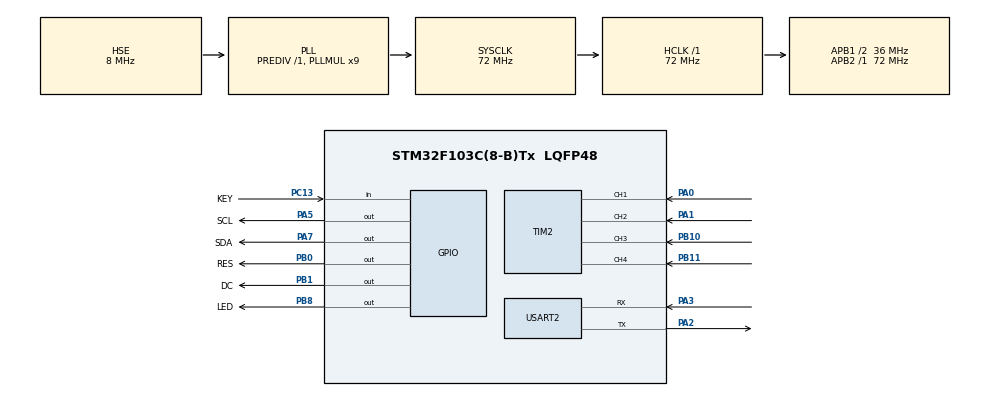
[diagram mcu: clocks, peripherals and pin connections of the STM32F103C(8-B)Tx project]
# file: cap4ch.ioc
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Mcu.Family=STM32F1
Mcu.Name=STM32F103C(8-B)Tx
Mcu.Package=LQFP48
NVIC.PriorityGroup=NVIC_PRIORITYGROUP_4
NVIC.TIM2_IRQn=true\:0\:0\:false\:false\:true
PA0-WKUP.GPIO_PuPd=GPIO_PULLUP
PA0-WKUP.Signal=S_TIM2_CH1_ETR
PA1.GPIO_PuPd=GPIO_PULLUP
PA1.Signal=S_TIM2_CH2
PA13.Mode=JTAG_5_pins
PA13.Signal=SYS_JTMS-SWDIO
PA14.Mode=JTAG_5_pins
PA14.Signal=SYS_JTCK-SWCLK
PA15.Mode=JTAG_5_pins
PA15.Signal=SYS_JTDI
PA2.Mode=Asynchronous
PA2.Signal=USART2_TX
PA3.Mode=Asynchronous
PA3.Signal=USART2_RX
PA5.GPIO_Label=SCL
PA5.GPIO_ModeDefaultOutputPP=GPIO_MODE_OUTPUT_OD
PA5.GPIO_Speed=GPIO_SPEED_FREQ_HIGH
PA5.Signal=GPIO_Output
PA7.GPIO_Label=SDA
PA7.GPIO_ModeDefaultOutputPP=GPIO_MODE_OUTPUT_OD
PA7.GPIO_Speed=GPIO_SPEED_FREQ_HIGH
PA7.Signal=GPIO_Output
PB0.GPIO_Label=RES
PB0.GPIO_ModeDefaultOutputPP=GPIO_MODE_OUTPUT_OD
PB0.GPIO_Speed=GPIO_SPEED_FREQ_HIGH
PB0.Signal=GPIO_Output
PB1.GPIO_Label=DC
PB1.GPIO_ModeDefaultOutputPP=GPIO_MODE_OUTPUT_OD
PB1.GPIO_Speed=GPIO_SPEED_FREQ_HIGH
PB1.Signal=GPIO_Output
PB10.GPIO_PuPd=GPIO_PULLUP
PB10.Signal=S_TIM2_CH3
PB11.GPIO_PuPd=GPIO_PULLUP
PB11.Signal=S_TIM2_CH4
PB3.Mode=JTAG_5_pins
PB3.Signal=SYS_JTDO-TRACESWO
PB4.Mode=JTAG_5_pins
PB4.Signal=SYS_NJTRST
PB8.GPIO_Label=LED
PB8.GPIO_ModeDefaultOutputPP=GPIO_MODE_OUTPUT_OD
PB8.GPIO_Speed=GPIO_SPEED_FREQ_HIGH
PB8.PinState=GPIO_PIN_RESET
PB8.Signal=GPIO_Output
PC13-TAMPER-RTC.GPIO_Label=KEY
PC13-TAMPER-RTC.GPIO_PuPd=GPIO_PULLUP
PC13-TAMPER-RTC.Signal=GPIO_Input
PC14-OSC32_IN.Mode=LSE-External-Oscillator
PC14-OSC32_IN.Signal=RCC_OSC32_IN
PC15-OSC32_OUT.Mode=LSE-External-Oscillator
PC15-OSC32_OUT.Signal=RCC_OSC32_OUT
PD0-OSC_IN.Mode=HSE-External-Oscillator
PD0-OSC_IN.Signal=RCC_OSC_IN
PD1-OSC_OUT.Mode=HSE-External-Oscillator
PD1-OSC_OUT.Signal=RCC_OSC_OUT
ProjectManager.HeapSize=0x200
ProjectManager.StackSize=0x800
ProjectManager.TargetToolchain=MDK-ARM V5
RCC.AHBFreq_Value=72000000
RCC.APB1CLKDivider=RCC_HCLK_DIV2
RCC.APB1Freq_Value=36000000
RCC.APB1TimFreq_Value=72000000
RCC.APB2Freq_Value=72000000
RCC.APB2TimFreq_Value=72000000
RCC.HCLKFreq_Value=72000000
RCC.HSIState=RCC_HSI_ON
RCC.PLLMUL=RCC_PLL_MUL9
RCC.PLLSourceVirtual=RCC_PLLSOURCE_HSE
RCC.SYSCLKFreq_VALUE=72000000
RCC.SYSCLKSource=RCC_SYSCLKSOURCE_PLLCLK
RCC.USBFreq_Value=72000000
SH.S_TIM2_CH1_ETR.0=TIM2_CH1,Input_Capture1_from_TI1
SH.S_TIM2_CH2.0=TIM2_CH2,Input_Capture2_from_TI2
SH.S_TIM2_CH3.0=TIM2_CH3,Input_Capture3_from_TI3
SH.S_TIM2_CH4.0=TIM2_CH4,Input_Capture4_from_TI4
TIM2.Channel-Input_Capture2_from_TI2=TIM_CHANNEL_2
TIM2.Channel-Input_Capture3_from_TI3=TIM_CHANNEL_3
TIM2.Channel-Input_Capture4_from_TI4=TIM_CHANNEL_4
TIM2.ICFilter_CH1=1
TIM2.ICFilter_CH2=3
TIM2.ICFilter_CH3=7
TIM2.ICFilter_CH4=15
TIM2.ICPolarity_CH1=TIM_INPUTCHANNELPOLARITY_FALLING
TIM2.ICPolarity_CH2=TIM_INPUTCHANNELPOLARITY_FALLING
TIM2.ICPolarity_CH3=TIM_INPUTCHANNELPOLARITY_FALLING
TIM2.ICPolarity_CH4=TIM_INPUTCHANNELPOLARITY_FALLING
VP_RTC_No_RTC_Output.Mode=RTC_OUT_NO
VP_TIM2_VS_ClockSourceINT.Mode=Internal
VP_TIM3_VS_ClockSourceINT.Mode=Internal
board=cap4ch

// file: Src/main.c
/**
  ******************************************************************************
  * File Name          : main.c
  * Description        : Main program body
  ******************************************************************************
  *
  * COPYRIGHT(c) 2016 STMicroelectronics
  *
  * Redistribution and use in source and binary forms, with or without modification,
  * are permitted provided that the following conditions are met:
  *   1. Redistributions of source code must retain the above copyright notice,
  *      this list of conditions and the following disclaimer.
  *   2. Redistributions in binary form must reproduce the above copyright notice,
  *      this list of conditions and the following disclaimer in the documentation
  *      and/or other materials provided with the distribution.
  *   3. Neither the name of STMicroelectronics nor the names of its contributors
  *      may be used to endorse or promote products derived from this software
  *      without specific prior written permission.
  *
  * THIS SOFTWARE IS PROVIDED BY THE COPYRIGHT HOLDERS AND CONTRIBUTORS "AS IS"
  * AND ANY EXPRESS OR IMPLIED WARRANTIES, INCLUDING, BUT NOT LIMITED TO, THE
  * IMPLIED WARRANTIES OF MERCHANTABILITY AND FITNESS FOR A PARTICULAR PURPOSE ARE
  * DISCLAIMED. IN NO EVENT SHALL THE COPYRIGHT HOLDER OR CONTRIBUTORS BE LIABLE
  * FOR ANY DIRECT, INDIRECT, INCIDENTAL, SPECIAL, EXEMPLARY, OR CONSEQUENTIAL
  * DAMAGES (INCLUDING, BUT NOT LIMITED TO, PROCUREMENT OF SUBSTITUTE GOODS OR
  * SERVICES; LOSS OF USE, DATA, OR PROFITS; OR BUSINESS INTERRUPTION) HOWEVER
  * CAUSED AND ON ANY THEORY OF LIABILITY, WHETHER IN CONTRACT, STRICT LIABILITY,
  * OR TORT (INCLUDING NEGLIGENCE OR OTHERWISE) ARISING IN ANY WAY OUT OF THE USE
  * OF THIS SOFTWARE, EVEN IF ADVISED OF THE POSSIBILITY OF SUCH DAMAGE.
  *
  ******************************************************************************
  */
#include "stm32f1xx_hal.h"

/* USER CODE BEGIN Includes */

#include <stdio.h>

/* USER CODE END Includes */

RTC_HandleTypeDef hrtc;

TIM_HandleTypeDef htim2;
TIM_HandleTypeDef htim3;

UART_HandleTypeDef huart2;

/* USER CODE BEGIN PV */
/* Private variables ---------------------------------------------------------*/
	short unsigned int cap[1024];
	unsigned int last = 0;
	int ch;

	volatile int irqcount;

/* USER CODE END PV */

void SystemClock_Config(void);
void Error_Handler(void);
static void MX_GPIO_Init(void);
static void MX_RTC_Init(void);
static void MX_TIM2_Init(void);
static void MX_TIM3_Init(void);
static void MX_USART2_UART_Init(void);

/* USER CODE BEGIN PFP */
/* Private function prototypes -----------------------------------------------*/

/* USER CODE END PFP */

/* USER CODE BEGIN 0 */

void HAL_TIM_IC_CaptureCallback(TIM_HandleTypeDef *htim)
{
	last %= 1024;
	irqcount++;
	cap[last] = htim->Instance->CCR1;
	last++;
}

/* USER CODE END 0 */

int main(void)
{

  /* USER CODE BEGIN 1 */
	unsigned int i;

  /* USER CODE END 1 */

  /* MCU Configuration----------------------------------------------------------*/

  /* Reset of all peripherals, Initializes the Flash interface and the Systick. */
  HAL_Init();

  /* Configure the system clock */
  SystemClock_Config();

  /* Initialize all configured peripherals */
  MX_GPIO_Init();
  MX_RTC_Init();
  MX_TIM2_Init();
  MX_TIM3_Init();
  MX_USART2_UART_Init();

  /* USER CODE BEGIN 2 */
	printf("The Open Bicycle Computer\n");
	printf("Hello World.\n");
	printf("Capture Test.\n");

	HAL_TIM_IC_Start_IT (&htim2,  TIM_CHANNEL_1);
	htim2.Instance->ARR = 0xFFFF;

  /* USER CODE END 2 */

  /* Infinite loop */
  /* USER CODE BEGIN WHILE */
	i = 0;
  while (1)
  {
  /* USER CODE END WHILE */

  /* USER CODE BEGIN 3 */
	  int irqcnt;

	  irqcnt = irqcount;
	  /* interrupt here? */
	  irqcount -= irqcnt;
  	while(irqcnt) {
		char buf[128];
		unsigned int tmp;

		i %= 1024;
		tmp = cap[i];

		sprintf(buf, "%3d(%3d):[%08x]\n", irqcnt, i, tmp);
		printf("%s", buf);

		i++;
		irqcnt--;

  	}
  }
  /* USER CODE END 3 */

}

/** System Clock Configuration
*/
void SystemClock_Config(void)
{

  RCC_OscInitTypeDef RCC_OscInitStruct;
  RCC_ClkInitTypeDef RCC_ClkInitStruct;
  RCC_PeriphCLKInitTypeDef PeriphClkInit;

  RCC_OscInitStruct.OscillatorType = RCC_OSCILLATORTYPE_LSI|RCC_OSCILLATORTYPE_HSE;
  RCC_OscInitStruct.HSEState = RCC_HSE_ON;
  RCC_OscInitStruct.HSEPredivValue = RCC_HSE_PREDIV_DIV1;
  RCC_OscInitStruct.LSIState = RCC_LSI_ON;
  RCC_OscInitStruct.PLL.PLLState = RCC_PLL_ON;
  RCC_OscInitStruct.PLL.PLLSource = RCC_PLLSOURCE_HSE;
  RCC_OscInitStruct.PLL.PLLMUL = RCC_PLL_MUL9;
  if (HAL_RCC_OscConfig(&RCC_OscInitStruct) != HAL_OK)
  {
    Error_Handler();
  }

  RCC_ClkInitStruct.ClockType = RCC_CLOCKTYPE_HCLK|RCC_CLOCKTYPE_SYSCLK
                              |RCC_CLOCKTYPE_PCLK1|RCC_CLOCKTYPE_PCLK2;
  RCC_ClkInitStruct.SYSCLKSource = RCC_SYSCLKSOURCE_PLLCLK;
  RCC_ClkInitStruct.AHBCLKDivider = RCC_SYSCLK_DIV1;
  RCC_ClkInitStruct.APB1CLKDivider = RCC_HCLK_DIV2;
  RCC_ClkInitStruct.APB2CLKDivider = RCC_HCLK_DIV1;
  if (HAL_RCC_ClockConfig(&RCC_ClkInitStruct, FLASH_LATENCY_2) != HAL_OK)
  {
    Error_Handler();
  }

  PeriphClkInit.PeriphClockSelection = RCC_PERIPHCLK_RTC;
  PeriphClkInit.RTCClockSelection = RCC_RTCCLKSOURCE_LSI;
  if (HAL_RCCEx_PeriphCLKConfig(&PeriphClkInit) != HAL_OK)
  {
    Error_Handler();
  }

  HAL_SYSTICK_Config(HAL_RCC_GetHCLKFreq()/1000);

  HAL_SYSTICK_CLKSourceConfig(SYSTICK_CLKSOURCE_HCLK);

  /* SysTick_IRQn interrupt configuration */
  HAL_NVIC_SetPriority(SysTick_IRQn, 0, 0);
}

/* RTC init function */
static void MX_RTC_Init(void)
{

  RTC_TimeTypeDef sTime;
  RTC_DateTypeDef DateToUpdate;

    /**Initialize RTC and set the Time and Date
    */
  hrtc.Instance = RTC;
  hrtc.Init.AsynchPrediv = RTC_AUTO_1_SECOND;
  hrtc.Init.OutPut = RTC_OUTPUTSOURCE_NONE;
  if (HAL_RTC_Init(&hrtc) != HAL_OK)
  {
    Error_Handler();
  }

  sTime.Hours = 0x1;
  sTime.Minutes = 0x0;
  sTime.Seconds = 0x0;

  if (HAL_RTC_SetTime(&hrtc, &sTime, RTC_FORMAT_BCD) != HAL_OK)
  {
    Error_Handler();
  }

  DateToUpdate.WeekDay = RTC_WEEKDAY_MONDAY;
  DateToUpdate.Month = RTC_MONTH_JANUARY;
  DateToUpdate.Date = 0x1;
  DateToUpdate.Year = 0x0;

  if (HAL_RTC_SetDate(&hrtc, &DateToUpdate, RTC_FORMAT_BCD) != HAL_OK)
  {
    Error_Handler();
  }

}

/* TIM2 init function */
static void MX_TIM2_Init(void)
{

  TIM_ClockConfigTypeDef sClockSourceConfig;
  TIM_MasterConfigTypeDef sMasterConfig;
  TIM_IC_InitTypeDef sConfigIC;

  htim2.Instance = TIM2;
  htim2.Init.Prescaler = 0xFFFF;
  htim2.Init.CounterMode = TIM_COUNTERMODE_UP;
  htim2.Init.Period = 0xFFFF;
  htim2.Init.ClockDivision = TIM_CLOCKDIVISION_DIV1;
  if (HAL_TIM_Base_Init(&htim2) != HAL_OK)
  {
    Error_Handler();
  }

  sClockSourceConfig.ClockSource = TIM_CLOCKSOURCE_INTERNAL;
  if (HAL_TIM_ConfigClockSource(&htim2, &sClockSourceConfig) != HAL_OK)
  {
    Error_Handler();
  }

  if (HAL_TIM_IC_Init(&htim2) != HAL_OK)
  {
    Error_Handler();
  }

  sMasterConfig.MasterOutputTrigger = TIM_TRGO_RESET;
  sMasterConfig.MasterSlaveMode = TIM_MASTERSLAVEMODE_DISABLE;
  if (HAL_TIMEx_MasterConfigSynchronization(&htim2, &sMasterConfig) != HAL_OK)
  {
    Error_Handler();
  }

  sConfigIC.ICPolarity = TIM_INPUTCHANNELPOLARITY_FALLING;
  sConfigIC.ICSelection = TIM_ICSELECTION_DIRECTTI;
  sConfigIC.ICPrescaler = TIM_ICPSC_DIV1;
  sConfigIC.ICFilter = 0;
  if (HAL_TIM_IC_ConfigChannel(&htim2, &sConfigIC, TIM_CHANNEL_1) != HAL_OK)
  {
    Error_Handler();
  }

  sConfigIC.ICFilter = 3;
  if (HAL_TIM_IC_ConfigChannel(&htim2, &sConfigIC, TIM_CHANNEL_2) != HAL_OK)
  {
    Error_Handler();
  }

  sConfigIC.ICFilter = 7;
  if (HAL_TIM_IC_ConfigChannel(&htim2, &sConfigIC, TIM_CHANNEL_3) != HAL_OK)
  {
    Error_Handler();
  }

  sConfigIC.ICFilter = 15;
  if (HAL_TIM_IC_ConfigChannel(&htim2, &sConfigIC, TIM_CHANNEL_4) != HAL_OK)
  {
    Error_Handler();
  }

}

/* TIM3 init function */
static void MX_TIM3_Init(void)
{

  TIM_ClockConfigTypeDef sClockSourceConfig;
  TIM_MasterConfigTypeDef sMasterConfig;

  htim3.Instance = TIM3;
  htim3.Init.Prescaler = 0;
  htim3.Init.CounterMode = TIM_COUNTERMODE_UP;
  htim3.Init.Period = 0;
  htim3.Init.ClockDivision = TIM_CLOCKDIVISION_DIV1;
  if (HAL_TIM_Base_Init(&htim3) != HAL_OK)
  {
    Error_Handler();
  }

  sClockSourceConfig.ClockSource = TIM_CLOCKSOURCE_INTERNAL;
  if (HAL_TIM_ConfigClockSource(&htim3, &sClockSourceConfig) != HAL_OK)
  {
    Error_Handler();
  }

  sMasterConfig.MasterOutputTrigger = TIM_TRGO_RESET;
  sMasterConfig.MasterSlaveMode = TIM_MASTERSLAVEMODE_DISABLE;
  if (HAL_TIMEx_MasterConfigSynchronization(&htim3, &sMasterConfig) != HAL_OK)
  {
    Error_Handler();
  }

}

/* USART2 init function */
static void MX_USART2_UART_Init(void)
{

  huart2.Instance = USART2;
  huart2.Init.BaudRate = 115200;
  huart2.Init.WordLength = UART_WORDLENGTH_8B;
  huart2.Init.StopBits = UART_STOPBITS_1;
  huart2.Init.Parity = UART_PARITY_NONE;
  huart2.Init.Mode = UART_MODE_TX_RX;
  huart2.Init.HwFlowCtl = UART_HWCONTROL_NONE;
  huart2.Init.OverSampling = UART_OVERSAMPLING_16;
  if (HAL_UART_Init(&huart2) != HAL_OK)
  {
    Error_Handler();
  }

}

/** Configure pins as
        * Analog
        * Input
        * Output
        * EVENT_OUT
        * EXTI
*/
static void MX_GPIO_Init(void)
{

  GPIO_InitTypeDef GPIO_InitStruct;

  /* GPIO Ports Clock Enable */
  __HAL_RCC_GPIOC_CLK_ENABLE();
  __HAL_RCC_GPIOD_CLK_ENABLE();
  __HAL_RCC_GPIOA_CLK_ENABLE();
  __HAL_RCC_GPIOB_CLK_ENABLE();

  /*Configure GPIO pin : KEY_Pin */
  GPIO_InitStruct.Pin = KEY_Pin;
  GPIO_InitStruct.Mode = GPIO_MODE_INPUT;
  GPIO_InitStruct.Pull = GPIO_PULLUP;
  HAL_GPIO_Init(KEY_GPIO_Port, &GPIO_InitStruct);

  /*Configure GPIO pins : SCL_Pin SDA_Pin */
  GPIO_InitStruct.Pin = SCL_Pin|SDA_Pin;
  GPIO_InitStruct.Mode = GPIO_MODE_OUTPUT_OD;
  GPIO_InitStruct.Speed = GPIO_SPEED_FREQ_HIGH;
  HAL_GPIO_Init(GPIOA, &GPIO_InitStruct);

  /*Configure GPIO pins : RES_Pin DC_Pin LED_Pin */
  GPIO_InitStruct.Pin = RES_Pin|DC_Pin|LED_Pin;
  GPIO_InitStruct.Mode = GPIO_MODE_OUTPUT_OD;
  GPIO_InitStruct.Speed = GPIO_SPEED_FREQ_HIGH;
  HAL_GPIO_Init(GPIOB, &GPIO_InitStruct);

  /*Configure GPIO pin Output Level */
  HAL_GPIO_WritePin(GPIOA, SCL_Pin|SDA_Pin, GPIO_PIN_RESET);

  /*Configure GPIO pin Output Level */
  HAL_GPIO_WritePin(GPIOB, RES_Pin|DC_Pin|LED_Pin, GPIO_PIN_RESET);

}

void Error_Handler(void)
{
  while(1)
  {
  }
}

/************************ (C) COPYRIGHT STMicroelectronics *****END OF FILE****/
